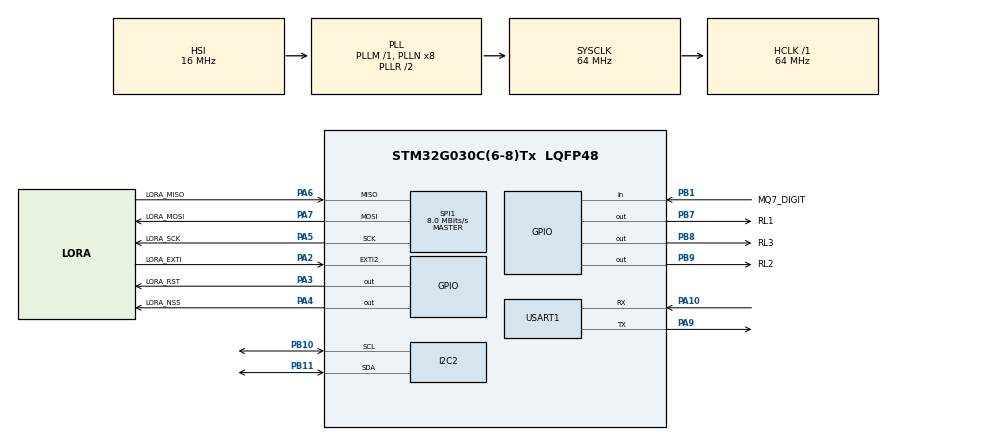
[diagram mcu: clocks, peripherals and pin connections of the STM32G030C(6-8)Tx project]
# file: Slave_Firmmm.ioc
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I2C2.Timing=0x10707DBC
Mcu.Family=STM32G0
Mcu.Name=STM32G030C(6-8)Tx
Mcu.Package=LQFP48
NVIC.EXTI2_3_IRQn=true\:1\:0\:true\:false\:true\:true\:true
PA10.Mode=Asynchronous
PA10.Signal=USART1_RX
PA13.Mode=Serial_Wire
PA13.Signal=SYS_SWDIO
PA14-BOOT0.Mode=Serial_Wire
PA14-BOOT0.Signal=SYS_SWCLK
PA2.GPIO_Label=LORA_EXTI
PA2.GPIO_ModeDefaultEXTI=GPIO_MODE_IT_RISING
PA2.Signal=GPXTI2
PA3.GPIO_Label=LORA_RST
PA3.GPIO_Speed=GPIO_SPEED_FREQ_VERY_HIGH
PA3.PinState=GPIO_PIN_SET
PA3.Signal=GPIO_Output
PA4.GPIO_Label=LORA_NSS
PA4.GPIO_Speed=GPIO_SPEED_FREQ_VERY_HIGH
PA4.PinState=GPIO_PIN_SET
PA4.Signal=GPIO_Output
PA5.GPIO_Label=LORA_SCK
PA5.Mode=Full_Duplex_Master
PA5.Signal=SPI1_SCK
PA6.GPIO_Label=LORA_MISO
PA6.Mode=Full_Duplex_Master
PA6.Signal=SPI1_MISO
PA7.GPIO_Label=LORA_MOSI
PA7.Mode=Full_Duplex_Master
PA7.Signal=SPI1_MOSI
PA9.Mode=Asynchronous
PA9.Signal=USART1_TX
PB1.GPIO_Label=MQ7_DIGIT
PB1.Signal=GPIO_Input
PB10.Mode=I2C
PB10.Signal=I2C2_SCL
PB11.Mode=I2C
PB11.Signal=I2C2_SDA
PB7.GPIO_Label=RL1
PB7.GPIO_Speed=GPIO_SPEED_FREQ_VERY_HIGH
PB7.Signal=GPIO_Output
PB8.GPIO_Label=RL3
PB8.GPIO_Speed=GPIO_SPEED_FREQ_VERY_HIGH
PB8.Signal=GPIO_Output
PB9.GPIO_Label=RL2
PB9.GPIO_Speed=GPIO_SPEED_FREQ_VERY_HIGH
PB9.Signal=GPIO_Output
PF0-OSC_IN\ (PF0).Mode=HSE-External-Oscillator
PF0-OSC_IN\ (PF0).Signal=RCC_OSC_IN
PF1-OSC_OUT\ (PF1).Mode=HSE-External-Oscillator
PF1-OSC_OUT\ (PF1).Signal=RCC_OSC_OUT
ProjectManager.HeapSize=0x200
ProjectManager.StackSize=0x400
ProjectManager.TargetToolchain=MDK-ARM V5
RCC.ADCFreq_Value=64000000
RCC.AHBFreq_Value=64000000
RCC.CortexFreq_Value=64000000
RCC.EXTERNAL_CLOCK_VALUE=12288000
RCC.HCLKFreq_Value=64000000
RCC.HSE_VALUE=8000000
RCC.HSI_VALUE=16000000
RCC.LSE_VALUE=32768
RCC.SYSCLKFreq_VALUE=64000000
RCC.SYSCLKSource=RCC_SYSCLKSOURCE_PLLCLK
RCC.VCOOutputFreq_Value=128000000
SPI1.BaudRatePrescaler=SPI_BAUDRATEPRESCALER_8
SPI1.CalculateBaudRate=8.0 MBits/s
SPI1.Direction=SPI_DIRECTION_2LINES
SPI1.Mode=SPI_MODE_MASTER
SPI1.VirtualType=VM_MASTER
USART1.VirtualMode-Asynchronous=VM_ASYNC
board=custom

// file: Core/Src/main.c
/* USER CODE BEGIN Header */
/**
  ******************************************************************************
  * @file           : main.c
  * @brief          : Main program body
  ******************************************************************************
  * @attention
  *
  * <h2><center>&copy; Copyright (c) 2022 STMicroelectronics.
  * All rights reserved.</center></h2>
  *
  * This software component is licensed by ST under BSD 3-Clause license,
  * the "License"; You may not use this file except in compliance with the
  * License. You may obtain a copy of the License at:
  *                        opensource.org/licenses/BSD-3-Clause
  *
  ******************************************************************************
  */
/* USER CODE END Header */
#include "main.h"
#include "i2c.h"
#include "spi.h"
#include "usart.h"
#include "gpio.h"

/* USER CODE BEGIN Includes */
#include "aht10.h"
#include "lora.h"
/* USER CODE END Includes */

/* USER CODE BEGIN PV */
typedef enum
{
	LORA_NOT_RECV,
	LORA_RECV
} lora_recv_t;
lora_recv_t lora_recv_state;
LoRa myLoRa;
int packet_size;
char rcv_data[200] = {0};
/* USER CODE END PV */

void SystemClock_Config(void);

/* USER CODE BEGIN 0 */
void switch_relay(GPIO_PinState PinState)
{
	HAL_GPIO_WritePin(GPIOB, RL1_Pin, PinState);
	HAL_GPIO_WritePin(GPIOB, RL2_Pin, PinState);
	HAL_GPIO_WritePin(GPIOB, RL3_Pin, PinState);
}

void HAL_GPIO_EXTI_Rising_Callback(uint16_t GPIO_Pin)
{
	if(GPIO_Pin == LORA_EXTI_Pin)
	{
    packet_size = LoRa_receive(&myLoRa, (uint8_t*)rcv_data, 128);
		lora_recv_state = LORA_RECV;
	}
}
/* USER CODE END 0 */

int main(void)
{
  /* USER CODE BEGIN 1 */
	uint32_t pre_tick = 0;
	uint32_t lora_tick = 0;
	char temp[10] = {0};
	char hum[10] = {0};
	GPIO_PinState mq7_state;
	uint16_t lora_state;
	char send_data[200] = {0};
  char lora_state_str[20] = {0};

	myLoRa = newLoRa();
	myLoRa.CS_port = LORA_NSS_GPIO_Port;
	myLoRa.CS_pin = LORA_NSS_Pin;
	myLoRa.reset_port = LORA_RST_GPIO_Port;
	myLoRa.reset_pin = LORA_RST_Pin;
	myLoRa.DIO0_port = LORA_EXTI_GPIO_Port;
	myLoRa.DIO0_pin = LORA_EXTI_Pin;
	myLoRa.hSPIx = &hspi1;
  /* USER CODE END 1 */

  /* MCU Configuration--------------------------------------------------------*/

  /* Reset of all peripherals, Initializes the Flash interface and the Systick. */
  HAL_Init();

  /* Configure the system clock */
  SystemClock_Config();

  /* Initialize all configured peripherals */
  MX_GPIO_Init();
  MX_I2C2_Init();
  MX_SPI1_Init();
  MX_USART1_UART_Init();
  /* USER CODE BEGIN 2 */
	LoRa_reset(&myLoRa);
	lora_state = LoRa_init(&myLoRa);
	sprintf(lora_state_str, "State: %d\r\n", lora_state);
	HAL_UART_Transmit(&huart1, (uint8_t*)lora_state_str, sizeof(lora_state_str), 100);
	LoRa_startReceiving(&myLoRa);
  /* USER CODE END 2 */

  /* Infinite loop */
  while (1)
  {

    /* USER CODE BEGIN 3 */
		if(HAL_GetTick() - pre_tick > 5000)
		{
			pre_tick = HAL_GetTick();
			// aht10_read_data(temp, hum);
      // sprintf(send_data, "$,2,%s,%s,*", temp, hum);
      sprintf(send_data, "$,2,20,80,*");
			// mq7_state = HAL_GPIO_ReadPin(GPIOB, MQ7_DIGIT_Pin);
			// if(mq7_state == GPIO_PIN_RESET)
			// 	switch_relay(GPIO_PIN_SET);
			// else
			// 	switch_relay(GPIO_PIN_RESET);
		}
		if(HAL_GetTick() - lora_tick > 10000)
		{
			lora_tick = HAL_GetTick();
			LoRa_transmit(&myLoRa, (uint8_t*)send_data, sizeof(send_data), 500);
		}
    if(lora_recv_state == LORA_RECV)
		{
			HAL_UART_Transmit(&huart1, (uint8_t*)rcv_data, sizeof(rcv_data), 100);
      lora_recv_state = LORA_NOT_RECV;
		}
  }
  /* USER CODE END 3 */
}

void SystemClock_Config(void)
{
  RCC_OscInitTypeDef RCC_OscInitStruct = {0};
  RCC_ClkInitTypeDef RCC_ClkInitStruct = {0};
  RCC_PeriphCLKInitTypeDef PeriphClkInit = {0};

  /** Configure the main internal regulator output voltage
  */
  HAL_PWREx_ControlVoltageScaling(PWR_REGULATOR_VOLTAGE_SCALE1);
  /** Initializes the RCC Oscillators according to the specified parameters
  * in the RCC_OscInitTypeDef structure.
  */
  RCC_OscInitStruct.OscillatorType = RCC_OSCILLATORTYPE_HSI;
  RCC_OscInitStruct.HSIState = RCC_HSI_ON;
  RCC_OscInitStruct.HSIDiv = RCC_HSI_DIV1;
  RCC_OscInitStruct.HSICalibrationValue = RCC_HSICALIBRATION_DEFAULT;
  RCC_OscInitStruct.PLL.PLLState = RCC_PLL_ON;
  RCC_OscInitStruct.PLL.PLLSource = RCC_PLLSOURCE_HSI;
  RCC_OscInitStruct.PLL.PLLM = RCC_PLLM_DIV1;
  RCC_OscInitStruct.PLL.PLLN = 8;
  RCC_OscInitStruct.PLL.PLLP = RCC_PLLP_DIV2;
  RCC_OscInitStruct.PLL.PLLR = RCC_PLLR_DIV2;
  if (HAL_RCC_OscConfig(&RCC_OscInitStruct) != HAL_OK)
  {
    Error_Handler();
  }
  /** Initializes the CPU, AHB and APB buses clocks
  */
  RCC_ClkInitStruct.ClockType = RCC_CLOCKTYPE_HCLK|RCC_CLOCKTYPE_SYSCLK
                              |RCC_CLOCKTYPE_PCLK1;
  RCC_ClkInitStruct.SYSCLKSource = RCC_SYSCLKSOURCE_PLLCLK;
  RCC_ClkInitStruct.AHBCLKDivider = RCC_SYSCLK_DIV1;
  RCC_ClkInitStruct.APB1CLKDivider = RCC_HCLK_DIV1;

  if (HAL_RCC_ClockConfig(&RCC_ClkInitStruct, FLASH_LATENCY_2) != HAL_OK)
  {
    Error_Handler();
  }
  /** Initializes the peripherals clocks
  */
  PeriphClkInit.PeriphClockSelection = RCC_PERIPHCLK_USART1;
  PeriphClkInit.Usart1ClockSelection = RCC_USART1CLKSOURCE_PCLK1;
  if (HAL_RCCEx_PeriphCLKConfig(&PeriphClkInit) != HAL_OK)
  {
    Error_Handler();
  }
}

void Error_Handler(void)
{
  __disable_irq();
  while (1)
  {
  }
}

/************************ (C) COPYRIGHT STMicroelectronics *****END OF FILE****/
